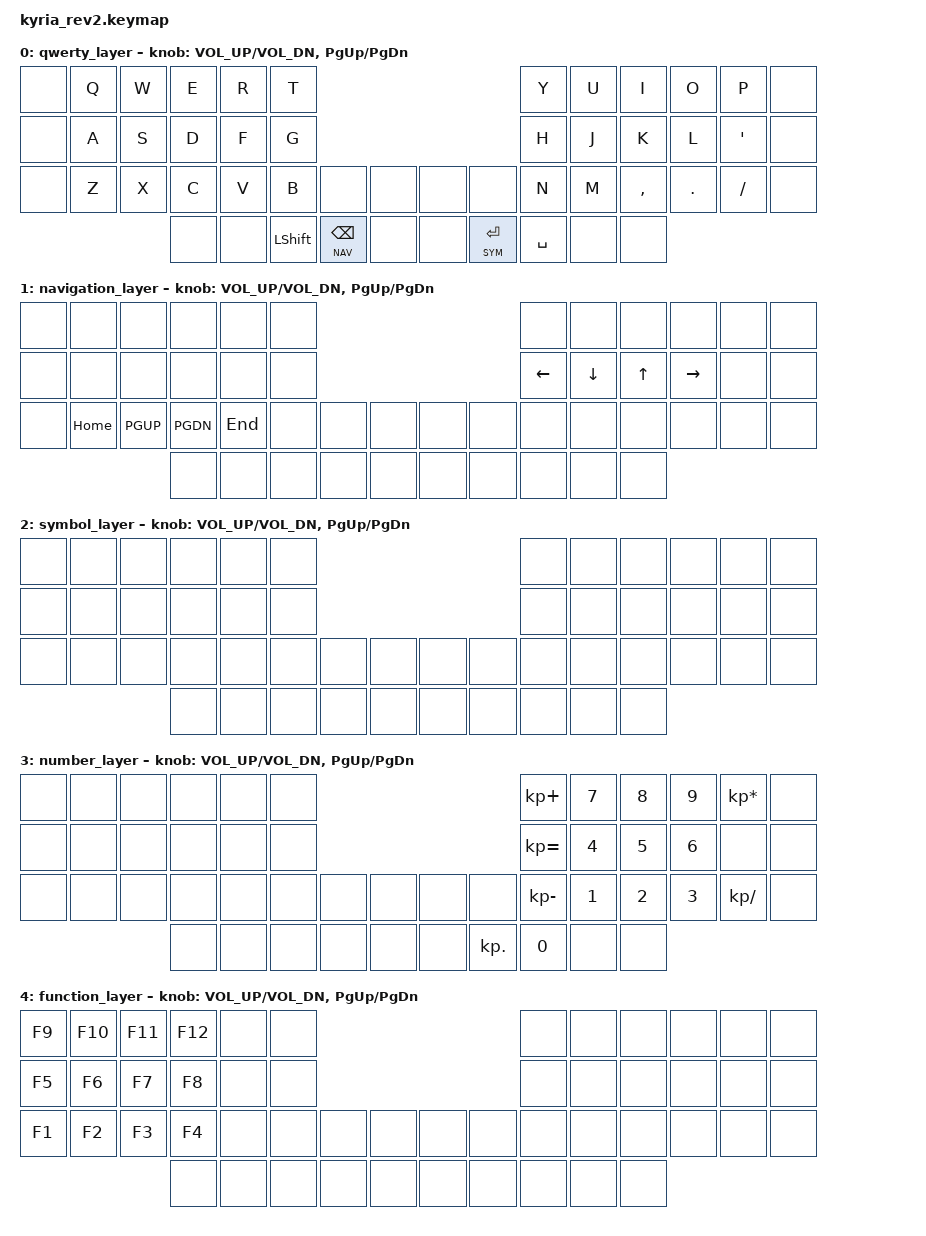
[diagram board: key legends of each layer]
/*
 * Copyright (c) 2020 The ZMK Contributors
 *
 * SPDX-License-Identifier: MIT
 */

#include <behaviors.dtsi>
#include <dt-bindings/zmk/keys.h>

#define QWE (0)
#define NAV (1)
#define SYM (2)
#define NUM (3)
#define FUN (4)


/ {
  keymap {
    compatible = "zmk,keymap";

    qwerty_layer {
// ---------------------------------------------------------------------------------------------------------------------------------
// |  ESC  |  Q  |  W  |  E   |  R   |  T   |                                          |  Y   |  U    |  I    |  O   |   P   |   \  |
// |  TAB  |  A  |  S  |  D   |  F   |  G   |                                          |  H   |  J    |  K    |  L   |   ;   |   '  |
// | SHIFT |  Z  |  X  |  C   |  V   |  B   | L SHIFT | L SHIFT |  | L SHIFT | L SHIFT |  N   |  M    |  ,    |  .   |   /   | CTRL |
//                     | GUI  | DEL  | RET  |  SPACE  |   ESC   |  |   RET   |  SPACE  | TAB  | BSPC  | R-ALT |
      bindings = <
  &none  &kp Q   &kp W  &kp E &kp R &kp T                                                  &kp Y &kp U  &kp I     &kp O   &kp P    &none
  &none  &kp A   &kp S  &kp D &kp F &kp G                                                  &kp H &kp J  &kp K     &kp L   &kp APOS &none
  &none  &kp Z   &kp X  &kp C &kp V &kp B     &none        &none        &none  &none       &kp N &kp M  &kp COMMA &kp DOT &kp FSLH &none
                        &none &none &kp LSHFT &lt NAV BSPC &none     &none  &lt SYM RET &kp SPACE &none &none
      >;

      sensor-bindings = <&inc_dec_kp C_VOL_UP C_VOL_DN &inc_dec_kp PG_UP PG_DN>;
    };
    navigation_layer {
// ---------------------------------------------------------------------------------------------------------------------------------
// |  ESC  |  Q  |  W  |  E   |  R   |  T   |                                          |  Y   |  U    |  I    |  O   |   P   |   \  |
// |  TAB  |  A  |  S  |  D   |  F   |  G   |                                          |  H   |  J    |  K    |  L   |   ;   |   '  |
// | SHIFT |  Z  |  X  |  C   |  V   |  B   | L SHIFT | L SHIFT |  | L SHIFT | L SHIFT |  N   |  M    |  ,    |  .   |   /   | CTRL |
//                     | GUI  | DEL  | RET  |  SPACE  |   ESC   |  |   RET   |  SPACE  | TAB  | BSPC  | R-ALT |
      bindings = <
  &none  &none   &none  &none &none &none                                                  &none &none &none &none &none &none
  &none  &none   &none  &none &none &none                                                  &kp LEFT &kp DOWN &kp UP &kp RIGHT &none &none
  &none  &kp HOME   &kp PGUP  &kp PGDN &kp END &none  &none &none                        &none  &none &none &none &none &none &none &none
                        &none &none &none  &none &none                        &none  &none &none &none &none
      >;

      sensor-bindings = <&inc_dec_kp C_VOL_UP C_VOL_DN &inc_dec_kp PG_UP PG_DN>;
    };
    symbol_layer {
      bindings = <
  &none  &none   &none  &none &none &none                                                  &none &none &none &none &none &none
  &none  &none   &none  &none &none &none                                                  &none &none &none &none &none &none
  &none  &none   &none  &none &none &none  &none &none                        &none  &none &none &none &none &none &none &none
                        &none &none &none  &none &none                        &none  &none &none &none &none
      >;

      sensor-bindings = <&inc_dec_kp C_VOL_UP C_VOL_DN &inc_dec_kp PG_UP PG_DN>;
    };
    number_layer {
      bindings = <
  &none  &none   &none  &none &none &none                                                  &kp KP_PLUS &kp N7 &kp N8 &kp N9 &kp KP_MULTIPLY &none
  &none  &none   &none  &none &none &none                                                  &kp KP_EQUAL &kp N4 &kp N5 &kp N6 &none &none
  &none  &none   &none  &none &none &none  &none &none                        &none  &none &kp KP_MINUS &kp N1 &kp N2 &kp N3 &kp KP_DIVIDE &none
                        &none &none &none  &none &none                        &none  &kp KP_DOT &kp N0 &none &none
      >;

      sensor-bindings = <&inc_dec_kp C_VOL_UP C_VOL_DN &inc_dec_kp PG_UP PG_DN>;
    };
    function_layer {
// ---------------------------------------------------------------------------------------------------------------------------------
// |  ESC  |  Q  |  W  |  E   |  R   |  T   |                                          |  Y   |  U    |  I    |  O   |   P   |   \  |
// |  TAB  |  A  |  S  |  D   |  F   |  G   |                                          |  H   |  J    |  K    |  L   |   ;   |   '  |
// | SHIFT |  Z  |  X  |  C   |  V   |  B   | L SHIFT | L SHIFT |  | L SHIFT | L SHIFT |  N   |  M    |  ,    |  .   |   /   | CTRL |
//                     | GUI  | DEL  | RET  |  SPACE  |   ESC   |  |   RET   |  SPACE  | TAB  | BSPC  | R-ALT |
      bindings = <
  &kp F9 &kp F10 &kp F11 &kp F12 &none &none                                                  &none &none &none &none &none &none
  &kp F5 &kp F6  &kp F7  &kp F8  &none &none                                                  &none &none &none &none &none &none
  &kp F1 &kp F2  &kp F3  &kp F4  &none &none  &none &none                        &none  &none &none &none &none &none &none &none
                        &none &none &none  &none &none                        &none  &none &none &none &none
      >;

      sensor-bindings = <&inc_dec_kp C_VOL_UP C_VOL_DN &inc_dec_kp PG_UP PG_DN>;
    };
  };
};
